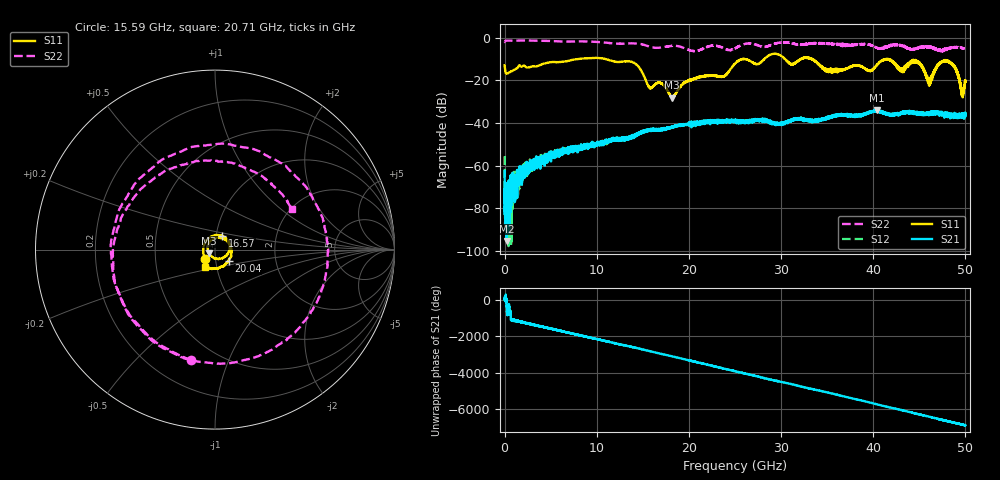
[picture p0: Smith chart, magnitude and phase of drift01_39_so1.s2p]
!Created with skrf (http://scikit-rf.org).
# Hz S RI R 50.0
!freq ReS11 ImS11 ReS21 ImS21 ReS12 ImS12 ReS22 ImS22
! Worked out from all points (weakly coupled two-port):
!   10001 points, 300 kHz to 50 GHz, reference 50 ohm
!   highest |S21| = -34.05 dB at 40.41 GHz (marker M1); lowest = -95.4 dB at 210.3 MHz (marker M2)
!   lowest |S11| = -28.2 dB at 18.16 GHz (marker M3), VSWR 1.08, Z = 46.8 - j1.96 ohm
!   |S11| at or under -10 dB: 10.89 GHz to 25.98 GHz (15.09 GHz wide, 81.9 % of centre); 33.36 GHz to 41.6 GHz (8.243 GHz wide, 22 % of centre); 41.61 GHz to end of sweep (the widest 3 of 21)
!   |S22| runs from -6.6 to -1.4 dB; largest |S21 - S12| = 0.0037
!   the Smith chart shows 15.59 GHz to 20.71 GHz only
!   S11 on the Smith chart (normalised r, x): 15.59 GHz: 0.89, -0.09; 16.57 GHz: 1.07, +0.16; 20.04 GHz: 1.15, -0.15; 20.71 GHz: 0.88, -0.17
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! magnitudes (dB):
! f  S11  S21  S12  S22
! 300 kHz  -13.1  -62.6  -55.6  -2.1
! 210.3 MHz  -16.9  -95.4  -73.4  -1.4
! 2.905 GHz  -13.6  -59.1  -60.2  -1.4
! 8.335 GHz  -9.9  -51.3  -51.8  -1.8
! 13.88 GHz  -11.5  -46.3  -46.3  -2.7
! 15.59 GHz  -22.6  -43.2  -43.4  -4.0
! 16.57 GHz  -21.4  -43.1  -43.2  -4.8
! 16.67 GHz  -21.2  -43.2  -42.8  -4.8
! 18.16 GHz  -28.2  -42.0  -42.0  -3.9
! 20.04 GHz  -20.0  -40.6  -40.5  -5.9
! 20.71 GHz  -19.0  -40.6  -39.8  -6.3
! 25 GHz  -12.2  -39.0  -39.3  -5.1
! 33.34 GHz  -10.2  -38.8  -38.8  -2.6
! 35.25 GHz  -15.2  -37.3  -37.3  -2.9
! 40.41 GHz  -12.8  -34.0  -34.3  -4.8
! 41.67 GHz  -10.4  -35.8  -36.2  -4.3
! 43.07 GHz  -15.3  -35.2  -35.4  -3.6
! 44.8 GHz  -11.4  -35.3  -35.6  -4.8
! 46.1 GHz  -21.2  -35.4  -35.3  -4.3
! 48.05 GHz  -11.3  -36.8  -35.9  -5.1
! 49.63 GHz  -25.6  -36.6  -36.5  -4.8
! 50 GHz  -20.8  -35.6  -36.6  -5.4
